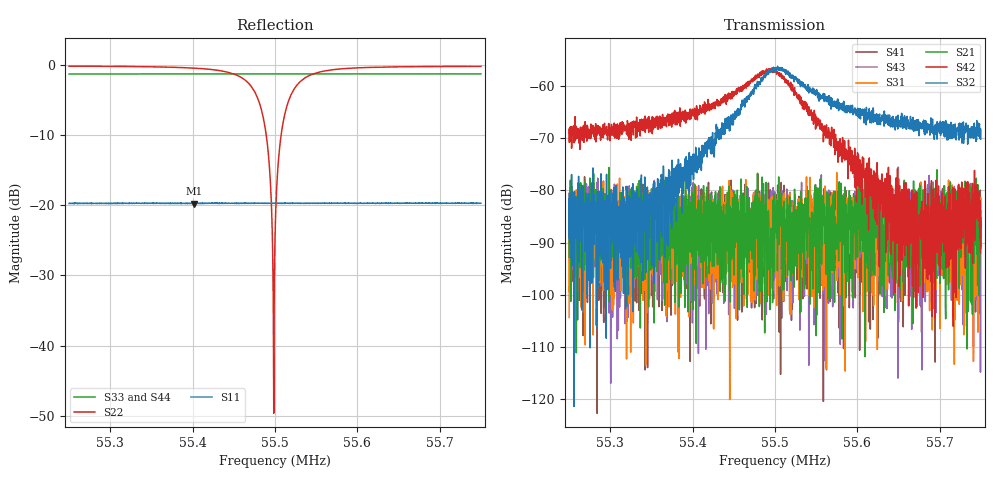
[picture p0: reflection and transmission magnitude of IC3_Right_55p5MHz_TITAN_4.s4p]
#  HZ  S  DB  R  50.00
! Rohde & Schwarz Vector Network Analyzer
! Rohde-Schwarz,ZNB8-4Port,1311601044102961,2.82
! Created: UTC 2/7/2019, 11:22:52 AM
! freq[Hz]  db:S11  ang:S11  db:S12  ang:S12  db:S13  ang:S13  db:S14  ang:S14
!  db:S21  ang:S21  db:S22  ang:S22  db:S23  ang:S23  db:S24  ang:S24
!  db:S31  ang:S31  db:S32  ang:S32  db:S33  ang:S33  db:S34  ang:S34
!  db:S41  ang:S41  db:S42  ang:S42  db:S43  ang:S43  db:S44  ang:S44
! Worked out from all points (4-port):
!   2001 points, 55.25 MHz to 55.75 MHz, reference 50 ohm
!   strongest paths, dB at 55.25 MHz, 55.375 MHz, 55.5 MHz, 55.625 MHz, 55.75 MHz:
!     S32: -81.7, -74.2, -56.6, -67.3, -70.1
!     S42: -70.7, -66.6, -57.1, -79.5, -85.3
!     S21: -92.8, -90.8, -83.2, -81.9, -90.6
!     S31: -104.3, -83.9, -86.8, -86.3, -87.2
!     S43: -86.8, -88.5, -89.6, -91.6, -82.2
!     S41: -80.5, -93.6, -87.9, -81.8, -90.4
!   lowest |S11| = -19.8 dB at 55.4017 MHz (marker M1), VSWR 1.23, Z = 61.3 - j1.38 ohm
!   |S11| at or under -10 dB: start of sweep to end of sweep
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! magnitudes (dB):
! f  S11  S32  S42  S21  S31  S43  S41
! 55.25 MHz  -19.8  -81.7  -70.7  -92.8  -104.3  -86.8  -80.5
! 55.4017 MHz  -19.8  -75.5  -65.5  -81.5  -89.0  -94.3  -84.1
! 55.479 MHz  -19.7  -59.6  -58.0  -87.3  -89.9  -87.3  -76.9
! 55.4985 MHz  -19.8  -56.6  -57.3  -80.6  -86.0  -84.8  -82.8
! 55.508 MHz  -19.7  -56.6  -58.1  -94.8  -84.0  -94.1  -104.5
! 55.5303 MHz  -19.7  -59.6  -62.3  -87.1  -92.4  -106.7  -94.7
! 55.75 MHz  -19.7  -70.1  -85.3  -90.6  -87.2  -82.2  -90.4
